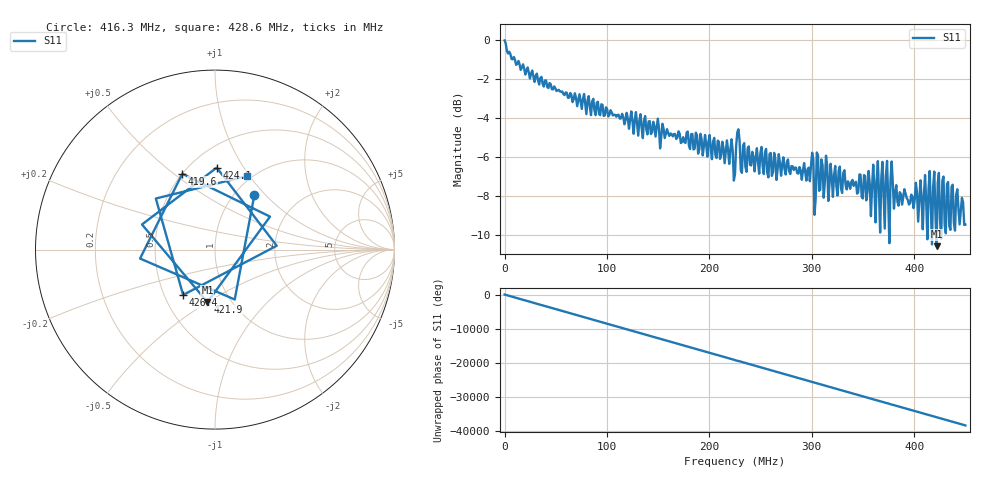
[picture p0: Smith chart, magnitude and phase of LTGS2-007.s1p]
! NanoVNA-App
! Date: 2026-09-29 13:26:19
! Start: 50kHz Stop: 450MHz Points: 401
! S-Parameter data: F S11
# Hz S RI R 50
!  Frequency  S11_Real  S11_Imag
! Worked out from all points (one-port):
!   401 points, 50 kHz to 450 MHz, reference 50 ohm
!   lowest |S11| = -10.6 dB at 421.9 MHz (marker M1), VSWR 1.84, Z = 38.9 - j25 ohm
!   |S11| at or under -10 dB: 375.5456 MHz to 375.9049 MHz (359.3 kHz wide, 0.0956 % of centre); 412.7457 MHz to 412.977 MHz (231.4 kHz wide, 0.056 % of centre); 417.1006 MHz to 417.5635 MHz (462.9 kHz wide, 0.111 % of centre) (the widest 3 of 5)
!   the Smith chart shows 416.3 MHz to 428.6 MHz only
!   S11 on the Smith chart (normalised r, x): 416.3 MHz: 1.22, +0.87; 419.6 MHz: 0.50, +0.54; 421.9 MHz: 0.78, -0.50; 424.1 MHz: 0.67, +0.77; 426.4 MHz: 0.62, -0.35; 428.6 MHz: 0.95, +0.97
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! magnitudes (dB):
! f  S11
! 50 kHz  0.0
! 56.29 MHz  -2.6
! 112.5 MHz  -4.0
! 168.8 MHz  -5.0
! 225 MHz  -6.9
! 228.4 MHz  -4.6
! 232.9 MHz  -5.4
! 281.3 MHz  -6.5
! 337.5 MHz  -7.6
! 364.5 MHz  -6.2
! 366.8 MHz  -9.9
! 369 MHz  -6.2
! 371.3 MHz  -9.7
! 373.5 MHz  -6.2
! 379.1 MHz  -7.4
! 393.8 MHz  -8.2
! 408.4 MHz  -9.7
! 410.6 MHz  -6.9
! 412.9 MHz  -10.2
! 415.1 MHz  -6.7
! 416.3 MHz  -8.5
! 419.6 MHz  -6.7
! 421.9 MHz  -10.6
! 424.1 MHz  -6.8
! 426.4 MHz  -10.2
! 428.6 MHz  -7.0
! 435.4 MHz  -9.7
! 450 MHz  -9.5
